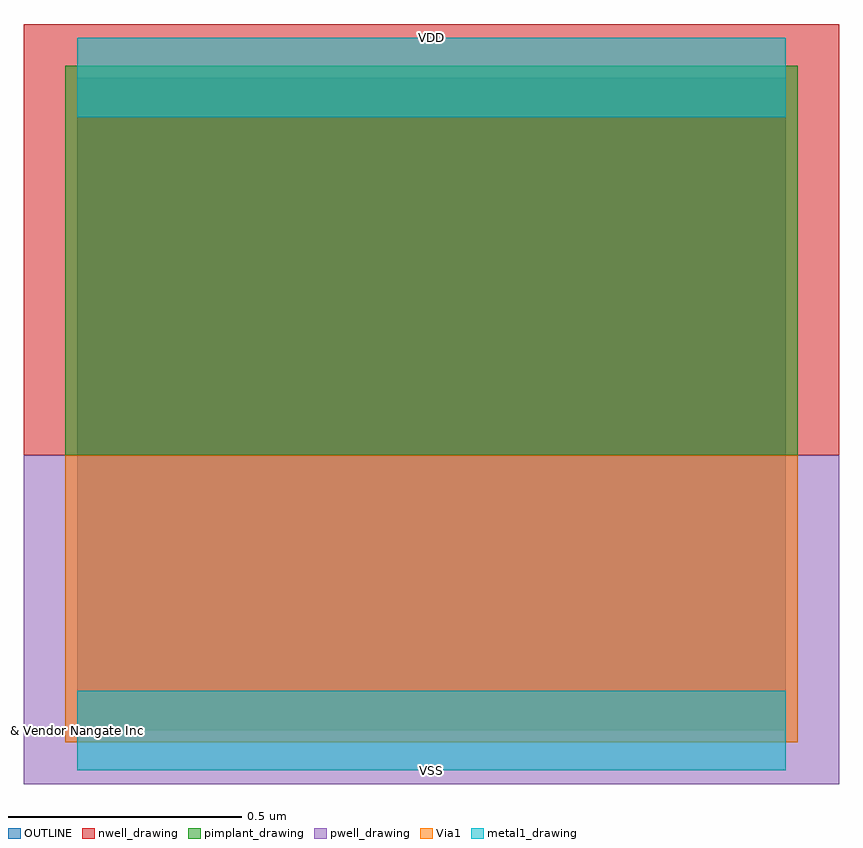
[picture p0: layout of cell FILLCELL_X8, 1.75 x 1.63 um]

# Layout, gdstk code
import gdstk
lib = gdstk.Library(unit=1e-6, precision=1e-10)
def R(c, l, rs):  # rectangles x0, y0, x1, y1
    for r in rs: c.add(gdstk.rectangle(r[:2], r[2:], *l))
pwell_drawing = (2, 0)
nwell_drawing = (3, 0)
Via1 = (4, 0)
pimplant_drawing = (5, 0)
metal1_drawing = (11, 0)
OUTLINE = (235, 0)

fillcell_x8 = lib.new_cell('FILLCELL_X8')
R(fillcell_x8, pwell_drawing, [(-0.115,-0.115,1.635,0.59)])
R(fillcell_x8, nwell_drawing, [(-0.115,0.59,1.635,1.515)])
R(fillcell_x8, Via1, [(-0.025,-0.025,1.545,0.59)])
R(fillcell_x8, pimplant_drawing, [(-0.025,0.59,1.545,1.425)])
R(fillcell_x8, metal1_drawing, [(0,-0.085,1.52,0.085), (0,1.315,1.52,1.485)])
R(fillcell_x8, OUTLINE, [(0,0,1.52,1.4)])
fillcell_x8.add(gdstk.Label('VDD', (0.76,1.485), layer=11, texttype=0))
fillcell_x8.add(gdstk.Label('VSS', (0.76,-0.085), layer=11, texttype=0))
fillcell_x8.add(gdstk.Label('& Vendor Nangate Inc', (0,0), layer=63, texttype=63))
fillcell_x8.add(gdstk.Label('& Product Open Cell Library', (0,0), layer=63, texttype=63))
fillcell_x8.add(gdstk.Label('& Version 2010_12', (0,0), layer=63, texttype=63))
fillcell_x8.add(gdstk.Label('& Instance FILLCELL_X8', (0,0), layer=63, texttype=63))

lib.write_gds('FILLCELL_X8.gds')
